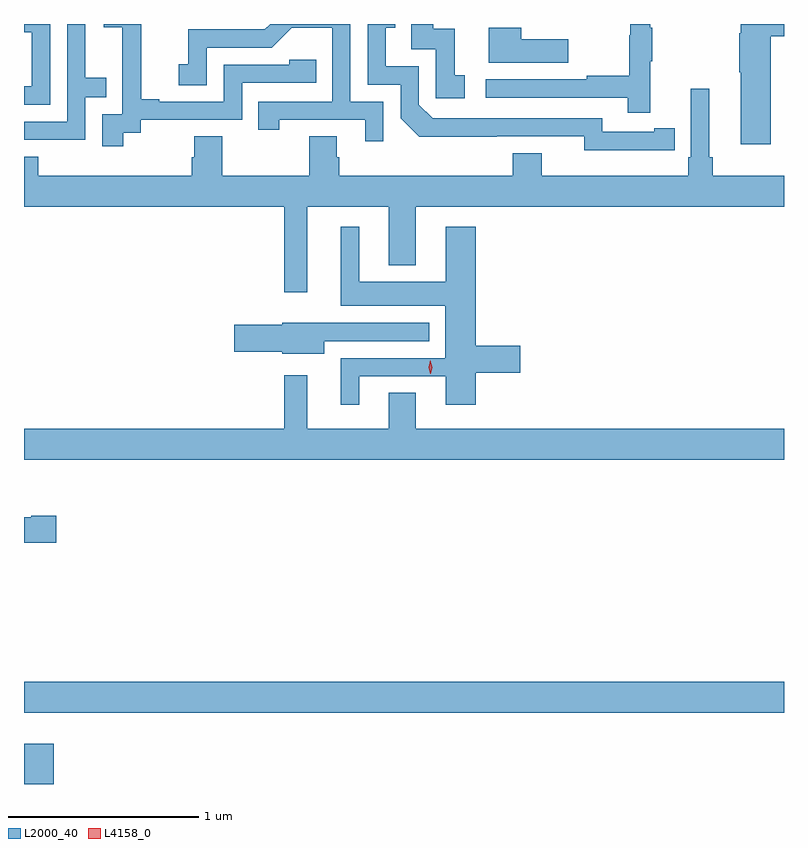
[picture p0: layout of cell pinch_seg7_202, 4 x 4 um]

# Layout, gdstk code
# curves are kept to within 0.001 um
import gdstk
lib = gdstk.Library(unit=1e-6, precision=1e-09)
def R(c, l, rs):  # rectangles x0, y0, x1, y1
    for r in rs: c.add(gdstk.rectangle(r[:2], r[2:], *l))
def P(c, l, *ps):  # polygons
    for p in ps: c.add(gdstk.Polygon(p, *l))
L2000_40 = (2000, 40)
L4158_0 = (4158, 0)

pinch_seg7_202 = lib.new_cell('pinch_seg7_202')
R(pinch_seg7_202, L2000_40, [(647.746,1076.166,647.903,1076.377), (647.746,1076.54,651.746,1076.704)])
P(pinch_seg7_202, L2000_40, [(651.062,1079.502),(651.17,1079.502),(651.17,1079.618),(651.062,1079.618),(651.062,1079.598),(650.79,1079.598),(650.79,1079.67),(649.896,1079.67),(649.824,1079.742),(649.824,1079.943),(649.651,1079.943),(649.651,1080.147),(649.7,1080.147),(649.7,1080.166),(649.554,1080.166),(649.554,1079.847),(649.728,1079.847),(649.728,1079.67),(649.826,1079.573),(650.694,1079.574),(650.694,1079.501)],
  [(648.268,1079.593),(648.36,1079.593),(648.36,1079.661),(648.894,1079.661),(648.894,1079.856),(649.283,1079.856),(649.283,1079.979),(649.143,1079.979),(649.143,1079.952),(648.798,1079.952),(648.798,1079.757),(648.457,1079.757),(648.457,1079.77),(648.362,1079.77),(648.362,1080.053),(648.363,1080.053),(648.363,1080.166),(648.165,1080.166),(648.165,1080.149),(648.263,1080.149),(648.263,1079.921),(648.264,1079.921),(648.264,1079.691),(648.159,1079.691),(648.159,1079.523),(648.268,1079.523)],
  [(649.638,1079.757),(649.464,1079.757),(649.464,1080.166),(649.041,1080.166),(649.013,1080.138),(648.61,1080.138),(648.61,1079.953),(648.561,1079.953),(648.561,1079.844),(648.708,1079.844),(648.708,1080.042),(649.05,1080.042),(649.154,1080.146),(649.368,1080.146),(649.368,1079.757),(648.979,1079.757),(648.979,1079.61),(649.09,1079.61),(649.09,1079.661),(649.541,1079.661),(649.541,1079.55),(649.638,1079.55)],
  [(651.041,1079.971),(651.052,1079.971),(651.052,1080.145),(651.041,1080.145),(651.041,1080.166),(650.938,1080.166),(650.938,1080.108),(650.931,1080.108),(650.931,1079.894),(650.707,1079.894),(650.707,1079.874),(650.175,1079.874),(650.175,1079.778),(650.923,1079.778),(650.923,1079.7),(651.041,1079.7)],
  [(651.677,1080.101),(651.746,1080.101),(651.746,1080.166),(651.518,1080.166),(651.518,1080.117),(651.511,1080.117),(651.511,1079.911),(651.518,1079.911),(651.518,1079.532),(651.677,1079.532)],
  [(647.883,1080.166),(647.746,1080.166),(647.746,1080.123),(647.787,1080.123),(647.787,1079.838),(647.746,1079.838),(647.746,1079.742),(647.883,1079.742)],
  [(650.065,1079.895),(650.012,1079.895),(650.012,1080.142),(649.901,1080.142),(649.901,1080.166),(649.785,1080.166),(649.785,1080.033),(649.914,1080.033),(649.914,1079.775),(650.065,1079.775)],
  [(648.069,1079.781),(648.179,1079.781),(648.179,1079.882),(648.069,1079.882),(648.069,1080.166),(647.973,1080.166),(647.973,1079.652),(647.746,1079.652),(647.746,1079.556),(648.069,1079.556)],
  [(650.611,1080.085),(650.363,1080.085),(650.363,1080.145),(650.192,1080.145),(650.192,1079.963),(650.611,1079.963)],
  [(649.237,1079.204),(649.667,1079.204),(649.667,1078.895),(649.807,1078.895),(649.807,1079.204),(651.746,1079.204),(651.746,1079.368),(651.371,1079.368),(651.371,1079.464),(651.352,1079.464),(651.352,1079.824),(651.255,1079.824),(651.255,1079.464),(651.242,1079.464),(651.242,1079.368),(650.47,1079.368),(650.47,1079.485),(650.318,1079.485),(650.318,1079.368),(649.406,1079.368),(649.406,1079.466),(649.393,1079.466),(649.393,1079.576),(649.246,1079.576),(649.246,1079.368),(648.789,1079.368),(648.789,1079.576),(648.641,1079.576),(648.641,1079.466),(648.629,1079.466),(648.629,1079.368),(647.822,1079.368),(647.822,1079.467),(647.746,1079.467),(647.746,1079.204),(649.116,1079.204),(649.116,1078.755),(649.237,1078.755)],
  [(649.51,1078.311),(649.967,1078.311),(649.967,1078.161),(650.123,1078.161),(650.123,1078.33),(650.359,1078.33),(650.359,1078.472),(650.123,1078.472),(650.123,1079.098),(649.967,1079.098),(649.967,1078.81),(649.51,1078.81),(649.51,1079.098),(649.412,1079.098),(649.412,1078.682),(649.964,1078.682),(649.964,1078.407),(649.412,1078.407),(649.412,1078.161),(649.51,1078.161)],
  [(649.327,1078.497),(649.879,1078.497),(649.879,1078.593),(649.323,1078.593),(649.323,1078.594),(649.104,1078.594),(649.104,1078.583),(648.852,1078.583),(648.852,1078.441),(649.104,1078.441),(649.104,1078.43),(649.327,1078.43)],
  [(651.746,1078.036),(649.807,1078.036),(649.807,1078.226),(649.667,1078.226),(649.667,1078.036),(649.237,1078.036),(649.237,1078.318),(649.116,1078.318),(649.116,1078.036),(647.746,1078.036),(647.746,1077.872),(651.746,1077.872)],
  [(647.917,1077.579),(647.784,1077.579),(647.784,1077.571),(647.746,1077.571),(647.746,1077.437),(647.917,1077.437)])
P(pinch_seg7_202, L4158_0, [(649.885,1078.324),(649.885,1078.324),(649.875,1078.359),(649.884,1078.395),(649.884,1078.395),(649.884,1078.395),(649.895,1078.36),(649.886,1078.324)])

lib.write_gds('pinch_seg7_202.gds')
